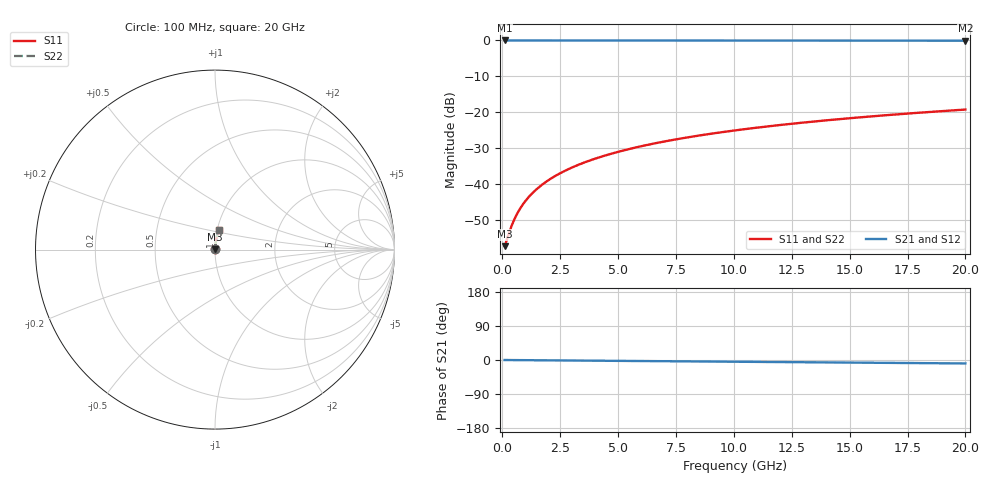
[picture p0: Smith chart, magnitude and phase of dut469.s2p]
! Touchstone file exported from HFSS 2026.1.0
!  File:  C:/ffzhzh/LocalFiles/Ansys_Project_Files/temp_train_TSV_469_1783022249_55676.aedt
!  Generated:  04:00:14 AM Jul  3, 2026
!  Design:  TSV
!  Project:  temp_train_TSV_469_1783022249_55676
! Variables:
!  h_bsmrdl = 2um
!  h_ox = 20um
!  h_rdl = 5um
!  h_sub = 61.01um
!  h_tmrdl = 5um
!  h_tsv = 61.01um
!  h_via = 3um
!  l_bsmrdl = 300um
!  l_sub = 404.84um
!  l_tmrdl = 200um
!  m_sub = 200um
!  pitch = 42.08um
!  r_tsv = 2.42um
!  s_tmrdl = 10um
!  w_bsmrdl = 18um
!  w_sub = 500um
!  w_tmrdl = 12um
!  x_tsv_center1 = 206um
!  x_tsv_center2 = 524um
!  x_tsv_center3 = 736um
!  x_tsv_center4 = 1054um
!  x_tsv_center5 = 1266um
!  x_tsv_center6 = 1584um
# GHz S MA R 50.000000
! Terminal data exported
! Port[1] = TSV1_1_T1
! Port[2] = TSV1_1_T2
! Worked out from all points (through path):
!   200 points, 100 MHz to 20 GHz, reference 50 ohm
!   highest |S21| = -0.01 dB at 100 MHz (marker M1); lowest = -0.1 dB at 20 GHz (marker M2)
!   group delay of S21, straight-line fit = 1.26 ps
!   lowest |S11| = -57.4 dB at 100 MHz (marker M3), VSWR 1.00, Z = 50.1 + j0.0567 ohm
!   |S11| at or under -10 dB: start of sweep to end of sweep
!   |S22| runs from -57.4 to -19.3 dB; largest |S21 - S12| = 6.8e-15
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0.1  0.001345 24.9  0.9988 -0.0  0.9988 -0.0  0.001345 24.9
! Gamma 0 0 0 0
! Port Impedance 50 0 50 0
0.3  0.002094 53.9  0.9988 -0.1  0.9988 -0.1  0.002094 53.9
0.4  0.002573 61.1  0.9988 -0.2  0.9988 -0.2  0.002573 61.1
0.5  0.003079 66.0  0.9988 -0.2  0.9988 -0.2  0.003079 66.0
0.6  0.0036 69.4  0.9987 -0.3  0.9987 -0.3  0.0036 69.4
0.7  0.004129 72.0  0.9987 -0.3  0.9987 -0.3  0.004129 72.0
0.9  0.005205 75.5  0.9987 -0.4  0.9987 -0.4  0.005205 75.5
1.2  0.00684 78.7  0.9987 -0.6  0.9987 -0.6  0.00684 78.7
1.4  0.007938 80.0  0.9987 -0.6  0.9987 -0.6  0.007938 80.0
1.7  0.009591 81.4  0.9987 -0.8  0.9987 -0.8  0.009591 81.4
2.2  0.01236 82.8  0.9986 -1.0  0.9986 -1.0  0.01236 82.8
2.8  0.01568 83.7  0.9985 -1.3  0.9985 -1.3  0.01568 83.7
3.5  0.01956 84.3  0.9984 -1.6  0.9984 -1.6  0.01956 84.3
4.2  0.02344 84.5  0.9983 -1.9  0.9983 -1.9  0.02344 84.5
5  0.02786 84.6  0.9981 -2.3  0.9981 -2.3  0.02786 84.6
5.9  0.03282 84.5  0.9979 -2.7  0.9979 -2.7  0.03282 84.5
6.8  0.03777 84.3  0.9976 -3.1  0.9976 -3.1  0.03777 84.3
8.3  0.04597 83.8  0.9971 -3.8  0.9971 -3.8  0.04597 83.8
10.1  0.05576 83.2  0.9964 -4.6  0.9964 -4.6  0.05576 83.2
13.4  0.07352 81.9  0.9948 -6.1  0.9948 -6.1  0.07352 81.9
16.7  0.09108 80.6  0.993 -7.6  0.993 -7.6  0.09108 80.6
20  0.1084 79.3  0.991 -9.1  0.991 -9.1  0.1084 79.3
